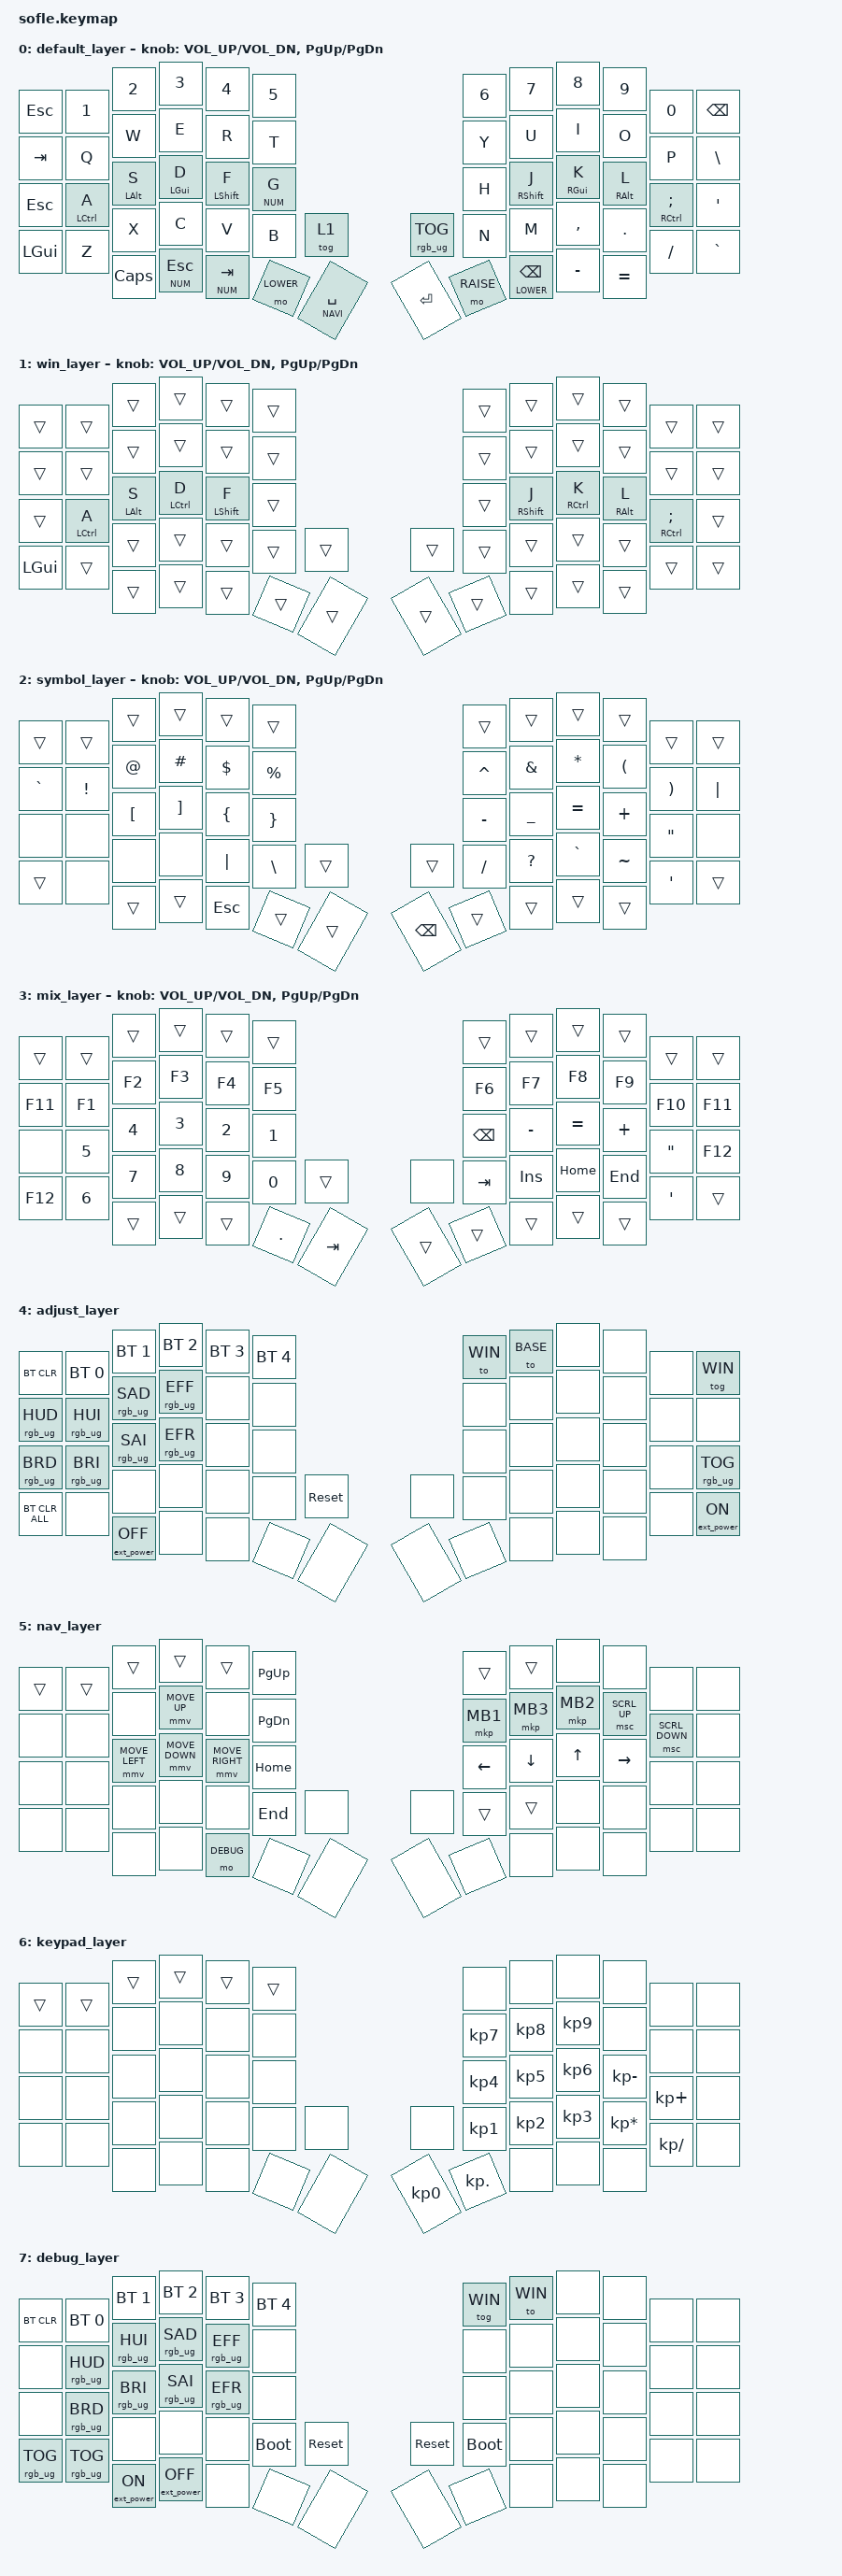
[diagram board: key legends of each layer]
/*
 * Copyright (c) 2020 The ZMK Contributors
 *
 * SPDX-License-Identifier: MIT
 */

#include "zmk-helpers/helper.h"

// Source desired key-position labels

#include "zmk-helpers/key-labels/sofle.h"

// tap windows for ctl alt and gui

#define HM_TAPPING_TERM 200
#define HM_TAPPING_REPEAT 210

// quick tapping for shift

#define HM_TAPPING_TERM_FAST 200
#define HM_PRIOR_IDLE 100
#define BASE 0
#define WIN 1
#define LOWER 2
#define RAISE 3
#define ADJUST 4
#define NAVI   5
#define NUM    6
#define DEBUG  7
#define ZMK_POINTING_DEFAULT_SCRL_VAL 15

// https://github.com/urob/zmk-config/tree/main#timeless-homerow-mods

#define KEYS_L LN5 LN4 LN3 LN2 LN1 LN0 LT0 LT1 LT2 LT3 LT4 LT5 LM0 LM1 LM2 LM3 LM4 LM5 LB0 LB1 LB2 LB3 LB4 LB5  // left hand
#define KEYS_R RN0 RN1 RN2 RN3 RN4 RN5 RT0 RT1 RT2 RT3 RT4 RT5 RM0 RM1 RM2 RM3 RM4 RM5 RB0 RB1 RB2 RB3 RB4 RB5  // right hand
#define THUMBS LH1 LH0 RH0 RH1
#define KEYS_T LH1 LH0 RH0 RH1

#include <behaviors.dtsi>
#include <dt-bindings/zmk/bt.h>
#include <dt-bindings/zmk/ext_power.h>
#include <dt-bindings/zmk/keys.h>
#include <dt-bindings/zmk/pointing.h>
#include <dt-bindings/zmk/rgb.h>

/ {
    // Activate ADJUST layer by pressing raise and lower

    behaviors {
        // Positional Homerow mods
        // Homerow mods that prevent accidental activations when rolling keys,
        // such as when typing `st` or `ne` on colemak-dh layouts or `as` on
        // qwerty.
        //
        // Works by only allowing a mod to activate within tapping-term if
        // it's on the opposite side of the keyboard or on the same side thumb
        // keys.
        // Further optimization using urob's timerless homerow mods method:
        // https://github.com/urob/zmk-config#timeless-homerow-mods

        hm_l: homerow_mods_left {
            compatible = "zmk,behavior-hold-tap";
            #binding-cells = <2>;
            bindings = <&kp>, <&kp>;

            flavor = "balanced";
            tapping-term-ms = <HM_TAPPING_TERM>;
            quick-tap-ms = <200>;                // repeat on tap-into-hold
            require-prior-idle-ms = <HM_PRIOR_IDLE>;
            hold-trigger-key-positions = <KEYS_R KEYS_T>;
            hold-trigger-on-release;
        };

        hm_r: homerow_mods_right {
            compatible = "zmk,behavior-hold-tap";
            #binding-cells = <2>;
            bindings = <&kp>, <&kp>;

            flavor = "balanced";
            tapping-term-ms = <HM_TAPPING_TERM>;
            quick-tap-ms = <200>;
            require-prior-idle-ms = <HM_PRIOR_IDLE>;
            hold-trigger-key-positions = <KEYS_L KEYS_T>;
            hold-trigger-on-release;
        };

        // Positional Homerow mods for shift
        // Use faster tapping term and disable some features that may
        // cause false negatives.

        hm_shift_l: hm_shift_l {
            compatible = "zmk,behavior-hold-tap";
            #binding-cells = <2>;
            bindings = <&kp>, <&kp>;

            //flavor = "balanced";

            flavor = "balanced";
            tapping-term-ms = <HM_TAPPING_TERM_FAST>;
            quick-tap-ms = <200>;
            require-prior-idle-ms = <HM_PRIOR_IDLE>;
            hold-trigger-key-positions = <KEYS_R KEYS_T>;
            hold-trigger-on-release;
        };

        hm_shift_r: hm_shift_r {
            compatible = "zmk,behavior-hold-tap";
            #binding-cells = <2>;
            bindings = <&kp>, <&kp>;

            flavor = "balanced";
            tapping-term-ms = <HM_TAPPING_TERM_FAST>;
            quick-tap-ms = <200>;
            require-prior-idle-ms = <HM_PRIOR_IDLE>;
            hold-trigger-key-positions = <KEYS_L KEYS_T>;

            // for quick tapping; shift+~

            hold-trigger-on-release;
        };

        /*
         * Non-Positional Homerow Mods
         * Used for &mm_grescm_gui behavior on left hand.
         *
         * Usage: &hm LSHFT T
         * Tap: T
         * Tap-Tap-Hold: Repeat T
         * Hold: LSHIFT
         */

        hm: homerow_mods {
            compatible = "zmk,behavior-hold-tap";
            #binding-cells = <2>;
            bindings = <&kp>, <&kp>;

            flavor = "balanced";
            tapping-term-ms = <HM_TAPPING_TERM>;
            quick-tap-ms = <200>;

            // for quick tapping; shift+~

            hold-trigger-on-release;
        };

        lt {
            // Increase layer tap time

            tapping-term-ms = <HM_TAPPING_TERM>;

            // Quickly tap-tap-holding the lt button will repeat the tap behavior
            // For example enter-enter-hold, will output multiple enter while you
            // keep holding the key.
            // But holding enter without double tapping, will activate the layer.

            quick-tap-ms = <200>;
            flavor = "hold";
            hold-while-undecided;
        };

        // mouse pointer moving

        mmv {
            #binding-cells = <1>;

            // x-input-code = <INPUT_REL_X>;
            // y-input-code = <INPUT_REL_Y>;

            time-to-max-speed-ms = <200>;
            acceleration-exponent = <2>;
        };

        // mouse scrolling

        msc {
            #binding-cells = <1>;
            trigger-period-ms = <0>;
            time-to-max-speed-ms = <100>;
            acceleration-exponent = <1>;
        };
    };

    conditional_layers {
        compatible = "zmk,conditional-layers";

        adjust_layer {
            if-layers = <LOWER RAISE>;
            then-layer = <ADJUST>;
        };
    };

    // combos {
    //     compatible = "zmk,combos";
        // ret {
        //     bindings = <&kp RET>;
        //     key-positions = <31 33>;
        //     layers = <BASE WIN>;
        // };

        // esc {
        //     bindings = <&kp ESC>;
        //     key-positions = <26 28>;
        //     layers = <BASE WIN>;
        // };

        // cb_tab {
        //     bindings = <&kp TAB>;
        //     key-positions = <13 14>;
        //     layers = <BASE WIN>;
        // };
    // };

    keymap {
        compatible = "zmk,keymap";

        default_layer {
            // ------------------------------------------------------------------------------------------------------------
            // |   `   |  1  |  2  |  3   |  4   |  5   |                   |  6   |  7    |  8    |  9   |   0   |       |
            // |  ESC  |  Q  |  W  |  E   |  R   |  T   |                   |  Y   |  U    |  I    |  O   |   P   | BKSPC |
            // |  TAB  |  A  |  S  |  D   |  F   |  G   |                   |  H   |  J    |  K    |  L   |   ;   |   '   |
            // | SHIFT |  Z  |  X  |  C   |  V   |  B   |  MUTE  |  |       |  N   |  M    |  ,    |  .   |   /   | SHIFT |
            //               | GUI | ALT  | CTRL | LOWER|  BSPCER |  | SPACE | RAISE| CTRL  | ALT   | GUI  |

            bindings = <
&kp ESC   &kp N1         &kp N2        &kp N3        &kp N4               &kp N5                                        &kp N6     &kp N7               &kp N8        &kp N9        &kp N0            &kp BSPC
&kp TAB   &kp Q          &kp W         &kp E         &kp R                &kp T                                         &kp Y      &kp U                &kp I         &kp O         &kp P             &kp BSLH
&kp ESC   &hm_l LCTRL A  &hm_l LALT S  &hm_l LGUI D  &hm_shift_l LSHFT F  &lt NUM G                                     &kp H      &hm_shift_r RSHFT J  &hm_r RGUI K  &hm_r RALT L  &hm_r RCTRL SEMI  &kp SQT
&kp LGUI  &kp Z          &kp X         &kp C         &kp V                &kp B      &tog 1            &rgb_ug RGB_TOG  &kp N      &kp M                &kp COMMA     &kp DOT       &kp FSLH          &kp GRAVE
                         &kp CAPS      &lt NUM ESC   &lt NUM TAB          &mo LOWER  &lt NAVI SPACE    &kp ENTER        &mo RAISE  &lt LOWER BSPC       &kp MINUS     &kp EQUAL
            >;

            sensor-bindings = <&inc_dec_kp C_VOL_UP C_VOL_DN &inc_dec_kp PG_UP PG_DN>;
        };

        win_layer {
            bindings = <
&trans    &trans         &trans        &trans         &trans               &trans                    &trans  &trans               &trans         &trans        &trans            &trans
&trans    &trans         &trans        &trans         &trans               &trans                    &trans  &trans               &trans         &trans        &trans            &trans
&trans    &hm_l LCTRL A  &hm_l LALT S  &hm_l LCTRL D  &hm_shift_l LSHFT F  &trans                    &trans  &hm_shift_r RSHFT J  &hm_r RCTRL K  &hm_r RALT L  &hm_r RCTRL SEMI  &trans
&kp LGUI  &trans         &trans        &trans         &trans               &trans  &trans    &trans  &trans  &trans               &trans         &trans        &trans            &trans
                         &trans        &trans         &trans               &trans  &trans    &trans  &trans  &trans               &trans         &trans
            >;

            sensor-bindings = <&inc_dec_kp C_VOL_UP C_VOL_DN &inc_dec_kp PG_UP PG_DN>;
        };

        // ------------------------------------------------------------------------------------------------------------ lower layer

        symbol_layer {
            bindings = <
&trans     &trans    &trans    &trans    &trans    &trans                              &trans     &trans     &trans     &trans    &trans    &trans
&kp GRAVE  &kp EXCL  &kp AT    &kp HASH  &kp DLLR  &kp PRCNT                           &kp CARET  &kp AMPS   &kp ASTRK  &kp LPAR  &kp RPAR  &kp PIPE
&none      &none     &kp LBKT  &kp RBKT  &kp LBRC  &kp RBRC                            &kp MINUS  &kp UNDER  &kp EQUAL  &kp PLUS  &kp DQT   &none
&trans     &none     &none     &none     &kp PIPE  &kp BSLH   &trans    &trans         &kp FSLH   &kp QMARK  &kp GRAVE  &kp TILDE &kp SQT  &trans
                     &trans    &trans    &kp ESC   &trans     &trans    &kp BACKSPACE  &trans     &trans     &trans     &trans
            >;

            sensor-bindings = <&inc_dec_kp C_VOL_UP C_VOL_DN &inc_dec_kp PG_UP PG_DN>;
        };

        mix_layer {
            bindings = <
&trans   &trans  &trans  &trans  &trans  &trans                      &trans         &trans     &trans     &trans    &trans   &trans
&kp F11  &kp F1  &kp F2  &kp F3  &kp F4  &kp F5                      &kp F6         &kp F7     &kp F8     &kp F9    &kp F10  &kp F11
&none    &kp N5  &kp N4  &kp N3  &kp N2  &kp N1                      &kp BACKSPACE  &kp MINUS  &kp EQUAL  &kp PLUS  &kp DQT  &kp F12
&kp F12  &kp N6  &kp N7  &kp N8  &kp N9  &kp N0   &trans     &none   &kp TAB        &kp INS    &kp HOME   &kp END   &kp SQT  &trans
                 &trans  &trans  &trans  &kp DOT  &kp TAB    &trans  &trans         &trans     &trans     &trans
            >;

            sensor-bindings = <&inc_dec_kp C_VOL_UP C_VOL_DN &inc_dec_kp PG_UP PG_DN>;
        };

        adjust_layer {
            // ----------------------------------------------------------------------------------------------------------------------------
            // | BTCLR  |  BT1    |  BT2    |   BT3   |   BT4   |   BT5   |                  |      |      |       |      |       |       |
            // | moDEBUG| RGB_HUD | RGB_HUI | RGB_SAD | RGB_SAI | RGB_EFF |                  |      |      |       |      |       |       |
            // | EXTPWR | RGB_BRD | RGB_BRI |         |         |         |                  |      |      |       |      |       |       |
            // |        |         |         |         |         |         | RGB_TOG | |      |      |      |       |      |       |       |
            //                    |         |         |         |         |         | |      |      |      |       |      |

            bindings = <
&bt BT_CLR       &bt BT_SEL 0     &bt BT_SEL 1       &bt BT_SEL 2     &bt BT_SEL 3  &bt BT_SEL 4                       &to WIN  &to BASE  &none  &none  &none  &tog WIN
&rgb_ug RGB_HUD  &rgb_ug RGB_HUI  &rgb_ug RGB_SAD    &rgb_ug RGB_EFF  &none         &none                              &none    &none     &none  &none  &none  &none
&rgb_ug RGB_BRD  &rgb_ug RGB_BRI  &rgb_ug RGB_SAI    &rgb_ug RGB_EFR  &none         &none                              &none    &none     &none  &none  &none  &rgb_ug RGB_TOG
&bt BT_CLR_ALL   &none            &none              &none            &none         &none         &sys_reset    &none  &none    &none     &none  &none  &none  &ext_power EP_ON
                                  &ext_power EP_OFF  &none            &none         &none         &none         &none  &none    &none     &none  &none
            >;
        };

        nav_layer {
            // ----------------------------------------------------------------------------------------------------------------------------
            // | BTCLR  |  BT1    |  BT2    |   BT3   |   BT4   |   BT5   |                  |      |      |       |      |       |       |
            // | moDEBUG| RGB_HUD | RGB_HUI | RGB_SAD | RGB_SAI | RGB_EFF |                  |      |      |       |      |       |       |
            // | EXTPWR | RGB_BRD | RGB_BRI |         |         |         |                  |      |      |       |      |       |       |
            // |        |         |         |         |         |         | RGB_TOG | |      |      |      |       |      |       |       |
            //                    |         |         |         |         |         | |      |      |      |       |      |

            bindings = <
&trans  &trans  &trans          &trans          &trans           &kp PAGE_UP                    &trans    &trans    &none     &none         &none           &none
&none   &none   &none           &mmv MOVE_UP    &none            &kp PAGE_DOWN                  &mkp MB1  &mkp MB3  &mkp MB2  &msc SCRL_UP  &msc SCRL_DOWN  &none
&none   &none   &mmv MOVE_LEFT  &mmv MOVE_DOWN  &mmv MOVE_RIGHT  &kp HOME                       &kp LEFT  &kp DOWN  &kp UP    &kp RIGHT     &none           &none
&none   &none   &none           &none           &none            &kp END        &none    &none  &trans    &trans    &none     &none         &none           &none
                &none           &none           &mo DEBUG        &none          &none    &none  &none     &none     &none     &none
            >;
        };

        keypad_layer {
            // ----------------------------------------------------------------------------------------------------------------------------
            // | BTCLR  |  BT1    |  BT2    |   BT3   |   BT4   |   BT5   |                  |      |      |       |      |       |       |
            // | moDEBUG| RGB_HUD | RGB_HUI | RGB_SAD | RGB_SAI | RGB_EFF |                  |      |      |       |      |       |       |
            // | EXTPWR | RGB_BRD | RGB_BRI |         |         |         |                  |      |      |       |      |       |       |
            // |        |         |         |         |         |         | RGB_TOG | |      |      |      |       |      |       |       |
            //                    |         |         |         |         |         | |      |      |      |       |      |

            bindings = <
&trans  &trans  &trans  &trans  &trans  &trans                      &none       &none      &none      &none            &none          &none
&none   &none   &none   &none   &none   &none                       &kp KP_N7   &kp KP_N8  &kp KP_N9  &none            &none          &none
&none   &none   &none   &none   &none   &none                       &kp KP_N4   &kp KP_N5  &kp KP_N6  &kp KP_MINUS     &kp KP_PLUS    &none
&none   &none   &none   &none   &none   &none   &none    &none      &kp KP_N1   &kp KP_N2  &kp KP_N3  &kp KP_MULTIPLY  &kp KP_DIVIDE  &none
                &none   &none   &none   &none   &none    &kp KP_N0  &kp KP_DOT  &none      &none      &none
            >;
        };

        debug_layer {
            // ----------------------------------------------------------------------------------------------------------------------------
            // | BTCLR  |  BT1    |  BT2    |   BT3   |   BT4   |   BT5   |                  |      |      |       |      |       |       |
            // | EXTPWR | RGB_HUD | RGB_HUI | RGB_SAD | RGB_SAI | RGB_EFF |                  |      |      |       |      |       |       |
            // |        | RGB_BRD | RGB_BRI |         |         |         |                  |      |      |       |      |       |       |
            // |        |         |         |         |         |         | RGB_TOG | |      |      |      |       |      |       |       |
            //                    |         |         |         |         |         | |      |      |      |       |      |

            bindings = <
&bt BT_CLR       &bt BT_SEL 0     &bt BT_SEL 1      &bt BT_SEL 2       &bt BT_SEL 3     &bt BT_SEL 4                            &tog WIN     &to WIN  &none  &none  &none  &none
&none            &rgb_ug RGB_HUD  &rgb_ug RGB_HUI   &rgb_ug RGB_SAD    &rgb_ug RGB_EFF  &none                                   &none        &none    &none  &none  &none  &none
&none            &rgb_ug RGB_BRD  &rgb_ug RGB_BRI   &rgb_ug RGB_SAI    &rgb_ug RGB_EFR  &none                                   &none        &none    &none  &none  &none  &none
&rgb_ug RGB_TOG  &rgb_ug RGB_TOG  &none             &none              &none            &bootloader   &sys_reset    &sys_reset  &bootloader  &none    &none  &none  &none  &none
                                  &ext_power EP_ON  &ext_power EP_OFF  &none            &none         &none         &none       &none        &none    &none  &none
            >;
        };
    };
};
